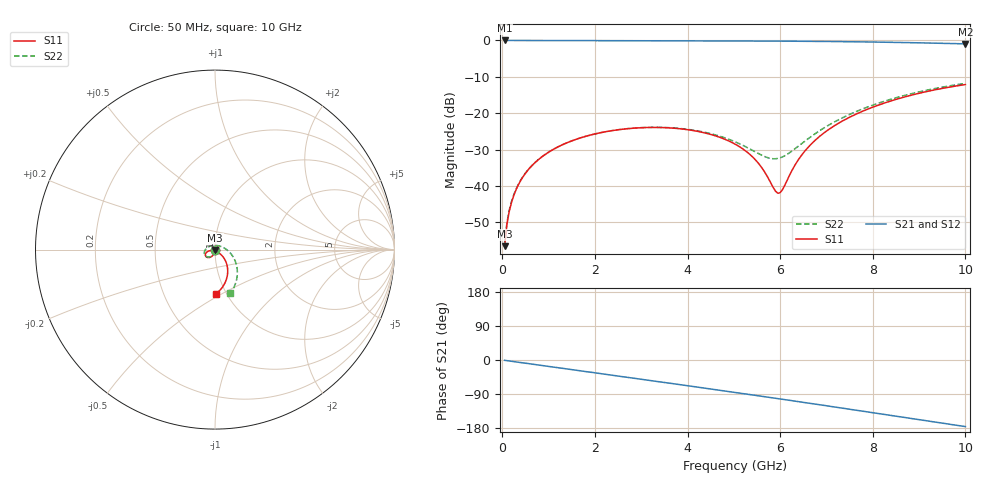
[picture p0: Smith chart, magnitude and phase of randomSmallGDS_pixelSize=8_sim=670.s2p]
! freq	dB(S11)	phase(S11)	dB(S12)	phase(S12)
!  dB(S21)	phase(S21)	dB(S22)	phase(S22)
!S-par simulation data
#  GHz  S  DB  R 50
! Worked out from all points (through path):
!   200 points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, 50 MHz to 10 GHz, reference 50 ohm
!   highest |S21| = 0.00 dB at 50 MHz (marker M1); lowest = -0.9 dB at 10 GHz (marker M2)
!   group delay of S21, straight-line fit = 48.8 ps
!   lowest |S11| = -56.6 dB at 50 MHz (marker M3), VSWR 1.00, Z = 50 - j0.148 ohm
!   |S11| at or under -10 dB: start of sweep to end of sweep
!   |S22| runs from -56.1 to -11.8 dB; largest |S21 - S12| = 0
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0.05  -56.58 -90.2  -0.00 -0.9  -0.00 -0.9  -56.08 -90.9
0.1  -50.55 -91.6  -0.00 -1.7  -0.00 -1.7  -50.13 -92.6
0.2  -44.50 -93.7  -0.00 -3.4  -0.00 -3.4  -44.25 -94.7
0.35  -39.62 -96.4  -0.00 -6.0  -0.00 -6.0  -39.49 -97.3
0.5  -36.54 -98.9  -0.01 -8.5  -0.01 -8.5  -36.47 -99.9
0.7  -33.67 -102.2  -0.01 -11.9  -0.01 -11.9  -33.64 -103.5
1  -30.73 -107.2  -0.02 -17.0  -0.02 -17.0  -30.72 -109.0
1.75  -26.55 -119.4  -0.04 -29.6  -0.04 -29.6  -26.55 -122.8
2.55  -24.48 -132.3  -0.06 -43.1  -0.06 -43.1  -24.47 -137.9
3.4  -23.94 -145.6  -0.08 -57.5  -0.08 -57.5  -23.90 -155.0
4.35  -25.35 -159.5  -0.11 -73.8  -0.11 -73.8  -25.19 -177.5
5.05  -28.68 -167.2  -0.13 -86.0  -0.13 -86.0  -28.00 158.3
5.5  -33.32 -165.8  -0.15 -93.9  -0.15 -93.9  -30.90 130.3
5.75  -38.03 -152.3  -0.17 -98.3  -0.17 -98.3  -32.31 104.7
5.95  -42.02 -110.2  -0.18 -101.9  -0.18 -101.9  -32.44 79.1
6.05  -41.05 -79.7  -0.19 -103.6  -0.19 -103.6  -32.02 66.3
6.4  -32.68 -42.7  -0.21 -109.9  -0.21 -109.9  -29.01 31.2
6.7  -28.12 -39.7  -0.24 -115.3  -0.24 -115.3  -26.14 12.5
7.4  -21.77 -46.1  -0.33 -128.0  -0.33 -128.0  -20.93 -13.8
8.35  -16.80 -60.7  -0.50 -145.5  -0.50 -145.5  -16.32 -37.5
9.15  -14.09 -74.4  -0.69 -160.2  -0.69 -160.2  -13.72 -54.3
10  -12.13 -89.2  -0.93 -175.7  -0.93 -175.7  -11.80 -70.5
